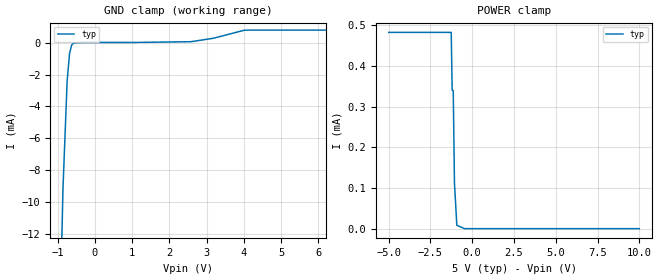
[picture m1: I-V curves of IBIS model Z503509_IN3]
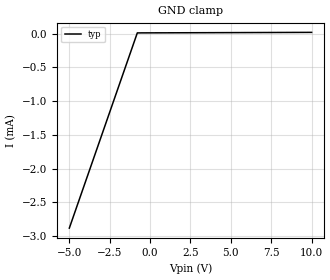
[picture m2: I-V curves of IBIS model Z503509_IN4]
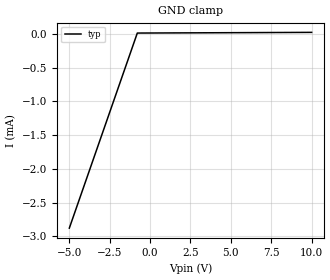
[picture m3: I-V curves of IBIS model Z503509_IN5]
| YOU ARE ONLY AUTHORIZED TO USE THIS SOFTWARE
| ACCORDING TO LICENSOR'S LICENSE RESTRICTIONS.
[IBIS Ver] 3.1
[File Name] mc14027bcl.ibs
[File Rev] 2.0
[Source] Measured and created by ICX Technology
[Date] Friday 7/14/00 9:07:52 AM
[Copyright]
| (C) COPYRIGHT 1993-2000
| MENTOR GRAPHICS CORPORATION
| ICX STANDARD LIBRARY, ICX PROJECT MODELING,
| ICX CUSTOM MODELING, ICX VENDOR MODEL
| ALL RIGHTS RESERVED.
| THE FOLLOWING ARE TRADEMARKS OR SERVICE MARKS OF
| MENTOR GRAPHICS CORPORATION:ICX (R), ICX STANDARD
| LIBRARY(R), ICX PROJECT MODELING(R), ICX CUSTOM
| MODELING(R), qualityIBIS(TM), MODELVIEWER(TM),
| AND MODELEDITOR(TM)
| ALL COPIES OF SOFTWARE, INCLUDING BUT NOT LIMITED TO
| ANY MODIFICATIONS, ENHANCEMENTS OR DERIVATIVE WORKS,
| MUST CONTAIN ALL MENTOR GRAPHICS CORPORATION'S
| NOTICES AND LEGENDS, INCLUDING THOSE EMBEDDED IN
| SOFTWARE AND THOSE AFFIXED TO SOFTWARE MEDIUM
| AND CONTAINER, AS RECEIVED FROM MENTOR GRAPHICS
| CORPORATION.
|  ZAP Model Builder 2.7
[Component] MC14027BCL
[Manufacturer] OnSemiconductor
[Package]
| variable   typ   min   max
R_pkg  .212ohms NA NA
L_pkg  4.758nH NA NA
C_pkg  1.944pF NA NA
[Pin] signal_name  model_name  R_pin  L_pin C_pin
1 QA Z503509_OUT1 .224 7.258n 2.683p
2 _QA Z503509_OUT2 .216 5.258n 2.19p
3 CA Z503509_IN3 .208 3.758n 1.697p
4 RA Z503509_IN4 .2 2.758n 1.204p
5 KA Z503509_IN5 .2 2.758n 1.204p
6 JA Z503509_IN5 .208 3.758n 1.697p
7 SA Z503509_IN4 .216 5.258n 2.19p
8 VSS POWER .224 7.258n 2.683p
9 SB Z503509_IN4 .224 7.258n 2.683p
10 JB Z503509_IN5 .216 5.258n 2.19p
11 KB Z503509_IN5 .208 3.758n 1.697p
12 RB Z503509_IN4 .2 2.758n 1.204p
13 CB Z503509_IN3 .2 2.758n 1.204p
14 _QB Z503509_OUT2 .208 3.758n 1.697p
15 QB Z503509_OUT1 .216 5.258n 2.19p
16 VDD POWER .224 7.258n 2.683p
| Models and submodels in the file (5): Z503509_IN3 (Input), Z503509_IN4 (Input), Z503509_IN5 (Input), Z503509_OUT1 (Output), Z503509_OUT2 (Output)
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| (C) COPYRIGHT 1993-2000
| MENTOR GRAPHICS CORPORATION
| ICX STANDARD LIBRARY, ICX PROJECT MODELING,
| ICX CUSTOM MODELING, ICX VENDOR MODEL
| ALL RIGHTS RESERVED.
| THE FOLLOWING ARE TRADEMARKS OR SERVICE MARKS OF
| MENTOR GRAPHICS CORPORATION:ICX (R), ICX STANDARD
| LIBRARY(R), ICX PROJECT MODELING(R), ICX CUSTOM
| MODELING(R), qualityIBIS(TM), MODELVIEWER(TM),
| AND MODELEDITOR(TM)
| ALL COPIES OF SOFTWARE, INCLUDING BUT NOT LIMITED TO
| ANY MODIFICATIONS, ENHANCEMENTS OR DERIVATIVE WORKS,
| MUST CONTAIN ALL MENTOR GRAPHICS CORPORATION'S
| NOTICES AND LEGENDS, INCLUDING THOSE EMBEDDED IN
| SOFTWARE AND THOSE AFFIXED TO SOFTWARE MEDIUM
| AND CONTAINER, AS RECEIVED FROM MENTOR GRAPHICS
| CORPORATION.
| Model Application Version 1.89 2/18/99.
[Model] Z503509_IN3
Model_type Input
Vinl = 1.500V
Vinh = 3.500V
C_comp 4.000pF NA NA
| variable typ   min   max
[Voltage Range] 5.000V NA NA
[GND Clamp Reference] 0.000V NA NA
[POWER Clamp Reference] 5.000V NA NA
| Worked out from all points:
|   GND clamp passes 1 mA (typ) near -0.69 V on its own axis
[GND Clamp]
-5V       -547.1mA   NA         NA
-1.005V   -23.93mA   NA         NA
-858.1mV  -9.09mA    NA         NA
-747mV    -2.392mA   NA         NA
-682mV    -665.4uA   NA         NA
-625.9mV  -149.2uA   NA         NA
-571.3mV  -16.65uA   NA         NA
2.578V    63.32uA    NA         NA
3.175V    277.3uA    NA         NA
4.067V    790.8uA    NA         NA
10V       790.8uA    NA         NA
[POWER Clamp]
-5V       482.2uA    NA         NA
-1.258V   482.2uA    NA         NA
-1.201V   340.2uA    NA         NA
-1.137V   339.2uA    NA         NA
-1.064V   111.5uA    NA         NA
-922mV    8.4uA      NA         NA
-461mV    0A         NA         NA
10V       0A         NA         NA
| (C) COPYRIGHT 1993-2000
| MENTOR GRAPHICS CORPORATION
| ICX STANDARD LIBRARY, ICX PROJECT MODELING,
| ICX CUSTOM MODELING, ICX VENDOR MODEL
| ALL RIGHTS RESERVED.
| THE FOLLOWING ARE TRADEMARKS OR SERVICE MARKS OF
| MENTOR GRAPHICS CORPORATION:ICX (R), ICX STANDARD
| LIBRARY(R), ICX PROJECT MODELING(R), ICX CUSTOM
| MODELING(R), qualityIBIS(TM), MODELVIEWER(TM),
| AND MODELEDITOR(TM)
| ALL COPIES OF SOFTWARE, INCLUDING BUT NOT LIMITED TO
| ANY MODIFICATIONS, ENHANCEMENTS OR DERIVATIVE WORKS,
| MUST CONTAIN ALL MENTOR GRAPHICS CORPORATION'S
| NOTICES AND LEGENDS, INCLUDING THOSE EMBEDDED IN
| SOFTWARE AND THOSE AFFIXED TO SOFTWARE MEDIUM
| AND CONTAINER, AS RECEIVED FROM MENTOR GRAPHICS
| CORPORATION.
| Model Application Version 1.89 2/18/99.
[Model] Z503509_IN4
Model_type Input
Vinl = 1.500V
Vinh = 3.500V
C_comp 4.000pF NA NA
| variable typ   min   max
[Voltage Range] 5.000V NA NA
[GND Clamp Reference] 0.000V NA NA
[POWER Clamp Reference] 5.000V NA NA
[GND Clamp]
-5V       -2.882mA   NA         NA
-791mV    10.13uA    NA         NA
10V       17.88uA    NA         NA
[POWER Clamp]
-5V       0A         NA         NA
10V       0A         NA         NA
| (C) COPYRIGHT 1993-2000
| MENTOR GRAPHICS CORPORATION
| ICX STANDARD LIBRARY, ICX PROJECT MODELING,
| ICX CUSTOM MODELING, ICX VENDOR MODEL
| ALL RIGHTS RESERVED.
| THE FOLLOWING ARE TRADEMARKS OR SERVICE MARKS OF
| MENTOR GRAPHICS CORPORATION:ICX (R), ICX STANDARD
| LIBRARY(R), ICX PROJECT MODELING(R), ICX CUSTOM
| MODELING(R), qualityIBIS(TM), MODELVIEWER(TM),
| AND MODELEDITOR(TM)
| ALL COPIES OF SOFTWARE, INCLUDING BUT NOT LIMITED TO
| ANY MODIFICATIONS, ENHANCEMENTS OR DERIVATIVE WORKS,
| MUST CONTAIN ALL MENTOR GRAPHICS CORPORATION'S
| NOTICES AND LEGENDS, INCLUDING THOSE EMBEDDED IN
| SOFTWARE AND THOSE AFFIXED TO SOFTWARE MEDIUM
| AND CONTAINER, AS RECEIVED FROM MENTOR GRAPHICS
| CORPORATION.
| Model Application Version 1.89 2/18/99.
[Model] Z503509_IN5
Model_type Input
Vinl = 1.500V
Vinh = 3.500V
C_comp 4.000pF NA NA
| variable typ   min   max
[Voltage Range] 5.000V NA NA
[GND Clamp Reference] 0.000V NA NA
[POWER Clamp Reference] 5.000V NA NA
[GND Clamp]
-5V       -2.879mA   NA         NA
-791mV    10.78uA    NA         NA
10V       20.96uA    NA         NA
[POWER Clamp]
-5V       0A         NA         NA
10V       0A         NA         NA
